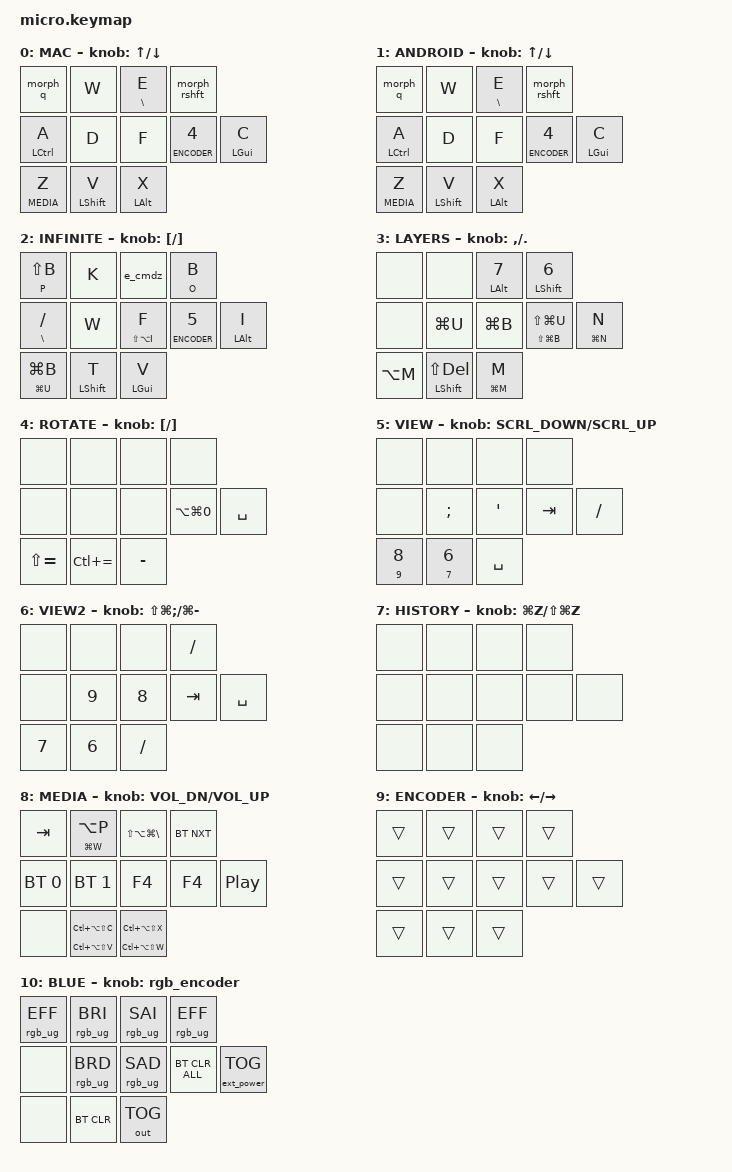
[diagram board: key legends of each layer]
#include <dt-bindings/zmk/keys.h>
#include <behaviors.dtsi>
#include <dt-bindings/zmk/bt.h>
#include <dt-bindings/zmk/mouse.h>
#include <dt-bindings/zmk/rgb.h>
#include <dt-bindings/zmk/outputs.h>
#include <dt-bindings/zmk/ext_power.h>

#define MAC 0
#define ANDROID 1
#define INFINITE 2
#define LAYERS 3
#define ROTATE 4
#define VIEW 5
#define VIEW2 6
#define HISTORY 7
#define MEDIA 8
#define ENCODER 9
#define BLUE 10

&lt {
    tapping-term-ms = <135>;
    quick-tap-ms = <100>;
};

&mt {
    tapping-term-ms = <135>;
    quick-tap-ms = <100>;
    flavor = "tap-preferred";
};

// time to max speed ms was 1000 //
#define ZMK_MOUSE_DEFAULT_SCRL_VAL 130  // 10
//#define MOUSE_SCROLL_MAX 250
&msc {
    acceleration-exponent = <0>;      // 0
    time-to-max-speed-ms = <0>;       // 300
    delay-ms = <0>;                   // 0
};


/ { 
behaviors {
    motap: motap {
      compatible = "zmk,behavior-hold-tap";
      #binding-cells = <2>;
      flavor = "hold-preferred";
      tapping-term-ms = <300>;
      quick-tap-ms = <0>;
      hold-while-undecided;
      bindings = <&mo>, <&kp>;
      };
    mtr: mtr {
      compatible = "zmk,behavior-hold-tap";
      #binding-cells = <2>;
      flavor = "hold-preferred";
      tapping-term-ms = <230>;
      quick-tap-ms = <0>;
      hold-while-undecided;
      bindings = <&kp>, <&kp>;
      };
    mtrv: mtrv {
      compatible = "zmk,behavior-hold-tap";
      #binding-cells = <2>;
      flavor = "hold-preferred";
      tapping-term-ms = <230>;
      quick-tap-ms = <100>;
      hold-while-undecided;
      bindings = <&kp>, <&kp>;
      };
    video: video {
      compatible = "zmk,behavior-hold-tap";
      #binding-cells = <2>;
      flavor = "tap-preferred";
      tapping-term-ms = <230>;
      quick-tap-ms = <100>;
      bindings = <&kp>, <&kp>;
      };
    mt0: mt0 {
      compatible = "zmk,behavior-hold-tap";
      #binding-cells = <2>;
      flavor = "hold-preferred";
      tapping-term-ms = <135>;
      quick-tap-ms = <100>;
      bindings = <&kp>, <&kp>;
      };
    mt1: mt1 {
      compatible = "zmk,behavior-hold-tap";
      #binding-cells = <2>;
      flavor = "hold-preferred";
      tapping-term-ms = <145>;
      quick-tap-ms = <100>;
      bindings = <&kp>, <&kp>;
      };
    mt2: mt2 {
      compatible = "zmk,behavior-hold-tap";
      #binding-cells = <2>;
      flavor = "hold-preferred";
      tapping-term-ms = <200>;
      quick-tap-ms = <100>;
      bindings = <&kp>, <&kp>;
      };
    mt3: mt3 {
      compatible = "zmk,behavior-hold-tap";
      #binding-cells = <2>;
      flavor = "hold-preferred";
      tapping-term-ms = <300>;
      quick-tap-ms = <100>;
      bindings = <&kp>, <&kp>;
      };
    mt4: mt4 {
      compatible = "zmk,behavior-hold-tap";
      #binding-cells = <2>;
      flavor = "hold-preferred";
      tapping-term-ms = <380>;
      quick-tap-ms = <100>;
      bindings = <&kp>, <&kp>;
      };
    kp_mkp: kp_mkp {
      compatible = "zmk,behavior-hold-tap";
      #binding-cells = <2>;
      tapping-term-ms = <130>;
      quick-tap-ms = <100>;
      flavor = "hold-preferred";
      bindings = <&kp>, <&mkp>;
      };
    kp_mkp0: kp_mkp0 {
      compatible = "zmk,behavior-hold-tap";
      #binding-cells = <2>;
      tapping-term-ms = <180>;
      quick-tap-ms = <100>;
      flavor = "hold-preferred";
      bindings = <&kp>, <&mkp>;
      };
    mkp_kp: mkp_kp {
      compatible = "zmk,behavior-hold-tap";
      #binding-cells = <2>;
      tapping-term-ms = <200>;
      quick-tap-ms = <100>;
      flavor = "hold-preferred";
      bindings = <&mkp>, <&kp>;
      };
    mkp_mkp: mkp_mkp {
      compatible = "zmk,behavior-hold-tap";
      #binding-cells = <2>;
      tapping-term-ms = <200>;
      quick-tap-ms = <100>;
      flavor = "hold-preferred";
      bindings = <&mkp>, <&mkp>;
      };
    hwu: hwu {
      compatible = "zmk,behavior-hold-tap";
      #binding-cells = <2>;
      flavor = "hold-preferred";
      tapping-term-ms = <170>;
      hold-while-undecided;
      bindings = <&kp>, <&kp>;
      };

    //  this works with R  //
    morph_lshft: morph_lshft {
            compatible = "zmk,behavior-mod-morph";
            #binding-cells = <0>;
            bindings = <&kp LG(R)>, <&hwu LS(LA(LGUI)) LA(LG(R))>;
            mods = <(MOD_LALT)>;
            keep-mods = <(MOD_LALT)>;
        };
    morph_r: morph_r {
            compatible = "zmk,behavior-mod-morph";
            #binding-cells = <0>;
            bindings = <&kp R>, <&morph_lshft>;
            mods = <(MOD_LGUI)>;
        };
        
// Use for combine lalt command //
    morph_qnest: morph_qnest {
            compatible = "zmk,behavior-mod-morph";
            #binding-cells = <0>;
            bindings = <&kp LG(Q)>, <&hwu LS(LA(LGUI)) LA(LG(Q))>;
            mods = <(MOD_LALT)>;
            keep-mods = <(MOD_LALT)>;
        };
    morph_q: morph_q {
            compatible = "zmk,behavior-mod-morph";
            #binding-cells = <0>;
            bindings = <&kp Q>, <&morph_qnest>;
            mods = <(MOD_LGUI)>;
        };


    morph_enest: morph_enest {
            compatible = "zmk,behavior-mod-morph";
            #binding-cells = <0>;
            bindings = <&kp LG(Z)>, <&kp LS(LG(Z))>;
            mods = <(MOD_LGUI)>;
            keep-mods = <(MOD_LGUI)>;
        };
    morph_e: morph_e {
            compatible = "zmk,behavior-mod-morph";
            #binding-cells = <0>;
            bindings = <&kp E>, <&morph_enest>;
            mods = <(MOD_LALT)>;
        };


    morph_wnest: morph_wnest {
            compatible = "zmk,behavior-mod-morph";
            #binding-cells = <0>;
            bindings = <&kp LA(W)>, <&hwu LS(LA(LGUI)) LA(LG(W))>;
            mods = <(MOD_LGUI)>;
            keep-mods = <(MOD_LGUI)>;
        };
    morph_w: morph_w {
            compatible = "zmk,behavior-mod-morph";
            #binding-cells = <0>;
            bindings = <&kp W>, <&morph_wnest>;
            mods = <(MOD_LALT)>;
        };     


// current code //    
    morph_rshft: morph_rshft {
            compatible = "zmk,behavior-mod-morph";
            #binding-cells = <0>;
            bindings = <&hwu RSHFT R>, <&kp R>;
            mods = <(MOD_LALT|MOD_LSFT|MOD_LGUI|MOD_LCTL)>;
            keep-mods = <(MOD_LALT|MOD_LSFT|MOD_LGUI|MOD_LCTL)>;
      };    
    e_cmdz: e_cmdz {
            compatible = "zmk,behavior-mod-morph";
            #binding-cells = <0>;
            bindings = <&kp E>, <&kp LG(Z)>;
            mods = <(MOD_LALT)>;
      };     
    EE_CUTUNDO: EE_CUT {
            compatible = "zmk,behavior-mod-morph";
            #binding-cells = <0>;
            bindings = <&kp E>, <&kp LG(X)>;
            mods = <(MOD_LSFT)>;
      };
    EE_CUT: CCMDZ {
            compatible = "zmk,behavior-mod-morph";
            #binding-cells = <0>;
            bindings = <&EE_CUTUNDO>, <&kp LG(Z)>;
            mods = <(MOD_LGUI|MOD_RALT)>;
      };
    rgb_encoder: rgb_encoder {
      compatible = "zmk,behavior-sensor-rotate";
      #sensor-binding-cells = <0>;
      bindings = <&rgb_ug RGB_HUI>, <&rgb_ug RGB_HUD>;
      };
    rot_msc: sensor_rotate_msc {
      compatible = "zmk,behavior-sensor-rotate-var";
      #sensor-binding-cells = <2>;
      bindings = <&msc>, <&msc>;
      tap-ms = <20>;
      }; 
    rot_kp: rot_kp {
      compatible = "zmk,behavior-sensor-rotate-var";
      #sensor-binding-cells = <2>;
      bindings = <&kp>, <&kp>;
      };
  };

    //   0-1-2-3 
    //   4-5-6-7-8 
    //      9-10-11 
combos {
    compatible = "zmk,combos";

    ANDROID {
    timeout-ms = <50>;
    key-positions = < 0 1 9 >;
    bindings = <&tog ANDROID>;
      }; 
    INFINITE {
    timeout-ms = <50>;
    key-positions = < 4 5 9 >;
    bindings = <&tog INFINITE>;
      };
    LAYERS {
    timeout-ms = <50>;
    key-positions = < 0 1 >;
    bindings = <&motap LAYERS N1>;
      };
    MEDIA {
    timeout-ms = <50>;
    key-positions = < 0 9 >;
    bindings = <&mo MEDIA>;
      };
    MOVE {
    timeout-ms = <50>;
    key-positions = < 1 2 >;
    bindings = <&kp J>;
      };
    PIN_ {
    timeout-ms = <50>;
    key-positions = < 0 1 2 3 9 >;
    bindings = <&kp LS(LC(LA(LG(N1))))>;
      };
    LAYER_SELECT {
    timeout-ms = <50>;
    key-positions = < 1 2 8 11 >;
    bindings = <&kp LA(LG(J))>;
      };
    HISTORY {
    timeout-ms = <50>;
    key-positions = < 1 6 >;
    bindings = <&mo HISTORY>;
      };
    VIEW {
    timeout-ms = <50>;
    key-positions = < 0 1 2 3 >;
    bindings = <&motap VIEW LG(N0)>;
      };
    VIEW2 {
    timeout-ms = <50>;
    key-positions = < 0 4 >;
    bindings = <&motap VIEW2 LG(N0)>;
      };
    ROTATE {
    timeout-ms = <50>;
    key-positions = < 0 3 >;
    bindings = <&motap ROTATE LG(EQUAL)>;
      };
    TAB_{
    timeout-ms = <50>;
    key-positions = < 4 5 8 11 >;
    bindings = <&kp TAB>;
      };
    ESCAPE_ENTER_ {
    timeout-ms = <50>;
    key-positions = < 1 2 3 >;
    bindings = <&mt2 ESCAPE ENTER>;
      };
    LIQUIFY {
    timeout-ms = <50>;
    key-positions = < 2 5 >;
    bindings = <&kp Y>;
      };
    TRANSFORM {
    timeout-ms = <50>;
    key-positions = < 0 1 2 >;
    bindings = <&kp T>;
      };
    BLUE {
    timeout-ms = <50>;
    key-positions = < 4 9 >;
    bindings = <&mo BLUE>;
      };
    SELECTION {
    timeout-ms = <50>;
    key-positions = < 2 3 >;
    bindings = <&kp L>;
      };
    ELLIPSE {
    timeout-ms = <50>;
    key-positions = < 1 3 >;
    bindings = <&kp O>;
      };
    MARQUEE {
    timeout-ms = <50>;
    key-positions = < 0 2 >;
    bindings = <&kp K>;
      };
    POLYGONAL_SELECTION {
    timeout-ms = <50>;
    key-positions = < 3 6 >;
    bindings = <&kp I>;
      };
    MAGENETIC_SELECTION {
    timeout-ms = <50>;
    key-positions = < 4 5 >;
    bindings = <&kp U>;
      };
    OPTION_L {
    timeout-ms = <50>;
    key-positions = < 2 3 11 >;
    bindings = <&kp LA(L)>;
      };
    COMMAND_L {
    timeout-ms = <50>;
    key-positions = < 2 3 8 >;
    bindings = <&kp LG(L)>;
      };
    OPTION_COMMAND_L {
    timeout-ms = <50>;
    key-positions = < 2 3 8 11 >;
    bindings = <&kp LA(LG(L))>;
      };

     //   0-1-2-3 
    //   4-5-6-7-8 
    //      9-10-11 

    COMMAND_W {
    timeout-ms = <50>;
    key-positions = < 1 8 >;
    bindings = <&kp LG(W)>;
      };
    COMMAND_E {
    timeout-ms = <50>;
    key-positions = < 2 8 >;
    bindings = <&kp LG(E)>;
      };
    LSHIFT_LCOMMAND {
    timeout-ms = <50>;
    key-positions = < 3 8 >;
    bindings = <&kp LS(LGUI)>;
      };
    COMMAND_F {
    timeout-ms = <50>;
    key-positions = < 6 8 >;
    bindings = <&kp LG(F)>;
      };
    OPTION_W {
    timeout-ms = <50>;
    key-positions = < 1 11 >;
    bindings = <&kp LA(W)>;
      };
    OPTION_E {
    timeout-ms = <50>;
    key-positions = < 2 11 >;
    bindings = <&kp LA(E)>;
      };
    OPTION_R {
    timeout-ms = <50>;
    key-positions = < 3 11 >;
    bindings = <&kp LA(R)>;
      };
    OPTION_F {
    timeout-ms = <50>;
    key-positions = < 6 11 >;
    bindings = <&kp LA(F)>;
      };
    SHIFT_Q {
    timeout-ms = <50>;
    key-positions = < 0 10 >;
    bindings = <&kp LS(Q)>;
      };
    SHIFT_W {
    timeout-ms = <50>;
    key-positions = < 1 10 >;
    bindings = <&kp LS(W)>;
      };
    SHIFT_E {
    timeout-ms = <50>;
    key-positions = < 2 10 >;
    bindings = <&kp LS(E)>;
      }; 
    SHIFT_R {
    timeout-ms = <50>;
    key-positions = < 3 10 >;
    bindings = <&kp LS(R)>;
      };
    CONTROL_SHIFT {
    timeout-ms = <50>;
    key-positions = < 4 10 >;
    bindings = <&kp LC(LSHFT)>;
      };
    CONTROL_OPTION {
    timeout-ms = <50>;
    key-positions = < 4 11 >;
    bindings = <&kp LC(LALT)>;
      };
    CONTROL_COMMAND {
    timeout-ms = <50>;
    key-positions = < 4 8 >;
    bindings = <&kp LC(LGUI)>;
      };
    SHIFT_OPTION {
    timeout-ms = <50>;
    key-positions = < 0 11 >;
    bindings = <&kp LS(LALT)>;
      };
    SHIFT_COMMAND {
    timeout-ms = <50>;
    key-positions = < 0 8 >;
    bindings = <&kp LS(LGUI)>;
      };
    LAYER_SELECT_ALL {
    timeout-ms = <50>;
    key-positions = < 3 8 11>;
    bindings = <&kp LS(LA(LGUI))>;
      };
    SHIFT_OPTION_COMMAND {
    timeout-ms = <50>;
    key-positions = < 0 8 11 >;
    bindings = <&kp LS(LA(LGUI))>;
      };
    CONTROL_OPTION_COMMAND {
    timeout-ms = <50>;
    key-positions = < 4 8 11 >;
    bindings = <&kp LC(LA(LGUI))>;
      };
    OPTION_COMMAND_F {
    timeout-ms = <50>;
    key-positions = < 6 8 11 >;
    bindings = <&kp LA(LG(F))>;
      };
    G_ {
    timeout-ms = <50>;
    key-positions = < 5 6 >;
    bindings = <&kp G>;
      };
    P_ {
    timeout-ms = <50>;
    key-positions = < 4 6 >;
    bindings = <&kp P>;
      };
    S_ {
    timeout-ms = <50>;
    key-positions = < 4 5 6 >;
    bindings = <&kp S>;
      };
    OPTION_COMMAND {
    timeout-ms = <50>;
    key-positions = < 8 11 >;
    bindings = <&hwu LA(LGUI) N5>;
      };
    SETTINGS {
    timeout-ms = <50>;
    key-positions = < 9 10 >;
    bindings = <&kp LG(COMMA)>;
      };
    };
//   13-0    13-1    15-2    14-3    15-8    14-11   //

    //   0-1-2-3 
    //   4-5-6-7-8 
    //      9-10-11 
 keymap {
    compatible = "zmk,keymap";

    MAC {
    bindings = <
    &morph_q &kp W &mt1 BACKSLASH E &morph_rshft
    &mt2 LCTRL A &kp D &kp F &motap ENCODER N4 &hwu LGUI C 
    &motap MEDIA Z &hwu LSHFT V &hwu LALT X>;
    sensor-bindings = <&rot_kp UP DOWN>; };

    ANDROID {
    bindings = <
    &morph_q &kp W &mt1 BACKSLASH E &morph_rshft
    &mt2 LCTRL A &kp D &kp F &motap ENCODER N4 &mt1 LGUI C 
    &motap MEDIA Z &mt1 LSHFT V &mt1 LALT X>;
    sensor-bindings = <&rot_kp UP DOWN>; };

    INFINITE {
    bindings = <     
    &mt1 P LS(B) &kp K &e_cmdz &mtr O B       
    &mt1 BACKSLASH SLASH &kp W &mt3 LS(LA(I)) F &motap ENCODER N5 &mt1 LALT I  
    &mt3 LG(U) LG(B) &mt1 LSHFT T &mt1 LGUI V>;       
    sensor-bindings = <&rot_kp LBKT RBKT>; };

    LAYERS {
    bindings = <
    &none &none &mt3 LALT N7 &mt3 LSHFT N6
    &none &kp LG(U) &kp LG(B) &mt3 LS(LG(B)) LS(LG(U)) &mt3 LG(N) N              
    &kp LA(M) &mt3 LSHFT LS(DEL) &mt3 LG(M) M>;
    sensor-bindings = <&rot_kp COMMA PERIOD>; };
    
    ROTATE {
    bindings = <
    &none &none &none &none
    &none &none &none &kp LA(LG(N0)) &kp SPACE
    &kp LS(EQUAL) &kp LC(EQUAL) &kp MINUS>;
    sensor-bindings = <&rot_kp LBKT RBKT>; };

    VIEW {
    bindings = <
    &none &none &none &none
    &none &kp SEMI &kp SQT &kp TAB &kp SLASH
    &mt3 N9 N8 &mt3 N7 N6 &kp SPACE>;
    sensor-bindings = <&rot_msc SCRL_DOWN SCRL_UP>; };

    VIEW2 {
    bindings = <
    &none &none &none &kp SLASH
    &none &kp N9 &kp N8 &kp TAB &kp SPACE
    &kp N7 &kp N6 &kp SLASH>;
    sensor-bindings = <&rot_kp LS(LG(SEMI)) LG(MINUS)>; };

    HISTORY {
    bindings = <
    &none &none &none &none
    &none &none &none &none &none
    &none &none &none>;
    sensor-bindings = <&rot_kp LG(Z) LS(LG(Z))>; };

    MEDIA {
    bindings = <
    &kp TAB &mt3 LG(W) LA(P) &kp LS(LA(LG(BACKSLASH))) &bt BT_NXT
    &bt BT_SEL 0 &bt BT_SEL 1 &kp F4 &kp F4 &kp C_PLAY_PAUSE 
    &none &mt3 LC(LA(LS(V))) LC(LA(LS(C))) &mt3 LC(LA(LS(W))) LC(LA(LS(X))) >;    
    sensor-bindings = <&rot_kp C_VOL_DN C_VOL_UP>; };

    ENCODER {
    bindings = <
    &trans &trans &trans &trans
    &trans &trans &trans &trans &trans
    &trans &trans &trans>;
    sensor-bindings = <&rot_kp LEFT RIGHT>; };
            
    BLUE {
    bindings = <
    &rgb_ug RGB_EFF &rgb_ug RGB_BRI &rgb_ug RGB_SAI &rgb_ug RGB_EFF
    &none &rgb_ug RGB_BRD &rgb_ug RGB_SAD &bt BT_CLR_ALL &ext_power EP_TOG    
    &none &bt BT_CLR &out OUT_TOG>;
    sensor-bindings = <&rgb_encoder>; };
    };
};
